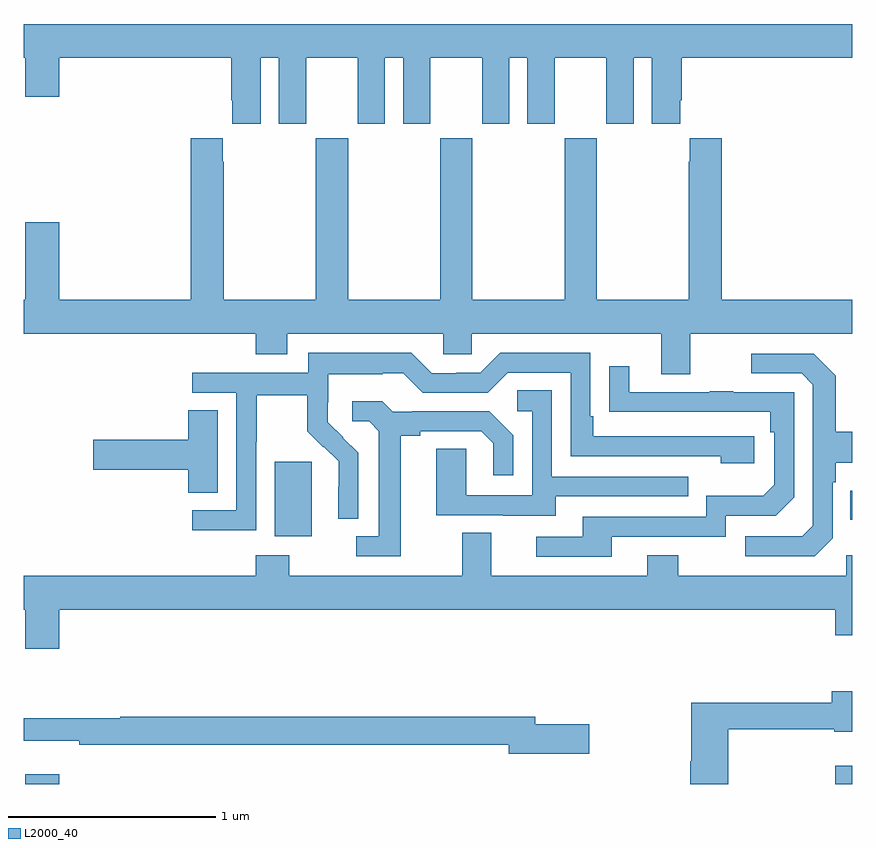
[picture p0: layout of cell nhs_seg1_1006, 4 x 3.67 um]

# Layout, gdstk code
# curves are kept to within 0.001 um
import gdstk
lib = gdstk.Library(unit=1e-6, precision=1e-09)
def R(c, l, rs):  # rectangles x0, y0, x1, y1
    for r in rs: c.add(gdstk.rectangle(r[:2], r[2:], *l))
def P(c, l, *ps):  # polygons
    for p in ps: c.add(gdstk.Polygon(p, *l))
L2000_40 = (2000, 40)

nhs_seg1_1006 = lib.new_cell('nhs_seg1_1006')
R(nhs_seg1_1006, L2000_40, [(165.008,576.199,165.172,576.247), (168.917,576.199,169,576.286), (166.211,577.394,166.39,577.755), (168.991,577.475,169,577.615)])
P(nhs_seg1_1006, L2000_40, [(165,579.704),(165.008,579.704),(165.008,579.516),(165.172,579.516),(165.172,579.704),(166.001,579.704),(166.001,579.499),(166.007,579.499),(166.007,579.387),(166.144,579.387),(166.144,579.704),(166.232,579.704),(166.232,579.387),(166.363,579.387),(166.363,579.704),(166.613,579.704),(166.613,579.387),(166.744,579.387),(166.744,579.704),(166.832,579.704),(166.832,579.387),(166.963,579.387),(166.963,579.704),(167.213,579.704),(167.213,579.387),(167.344,579.387),(167.344,579.704),(167.432,579.704),(167.432,579.387),(167.563,579.387),(167.563,579.704),(167.813,579.704),(167.813,579.387),(167.944,579.387),(167.944,579.704),(168.032,579.704),(168.032,579.387),(168.169,579.387),(168.169,579.499),(168.176,579.499),(168.176,579.704),(169,579.704),(169,579.868),(165,579.868)],
  [(168.217,578.372),(169,578.372),(169,578.536),(168.371,578.536),(168.371,579.316),(168.215,579.316),(168.215,579.203),(168.211,579.203),(168.211,578.536),(167.766,578.536),(167.766,579.316),(167.611,579.316),(167.611,578.536),(167.166,578.536),(167.166,579.316),(167.011,579.316),(167.011,578.536),(166.566,578.536),(166.566,579.316),(166.411,579.316),(166.411,578.536),(165.966,578.536),(165.966,579.203),(165.961,579.203),(165.961,579.316),(165.806,579.316),(165.806,578.536),(165.172,578.536),(165.172,578.911),(165.008,578.911),(165.008,578.536),(165,578.536),(165,578.372),(166.121,578.372),(166.121,578.273),(166.273,578.273),(166.273,578.372),(167.025,578.372),(167.025,578.274),(167.163,578.274),(167.163,578.372),(168.077,578.372),(168.077,578.178),(168.217,578.178)],
  [(166.122,577.852),(166.125,577.852),(166.125,578.076),(166.369,578.076),(166.369,577.901),(166.446,577.824),(166.449,577.827),(166.52,577.757),(166.52,577.634),(166.518,577.634),(166.518,577.48),(166.614,577.48),(166.614,577.798),(166.468,577.946),(166.468,578.043),(166.47,578.043),(166.47,578.177),(166.733,578.177),(166.733,578.181),(166.833,578.181),(166.926,578.088),(167.241,578.088),(167.337,578.184),(167.64,578.184),(167.64,577.782),(168.365,577.782),(168.365,577.748),(168.526,577.748),(168.526,577.878),(167.749,577.878),(167.749,577.975),(167.736,577.975),(167.736,578.28),(167.301,578.28),(167.205,578.184),(167.087,578.184),(167.087,578.181),(166.971,578.181),(166.871,578.281),(166.374,578.281),(166.374,578.184),(165.813,578.184),(165.813,578.088),(166.026,578.088),(166.026,577.521),(165.813,577.521),(165.813,577.423),(166.122,577.423)],
  [(168.906,577.386),(168.906,577.655),(168.919,577.655),(168.919,577.751),(169,577.751),(169,577.899),(168.919,577.899),(168.919,578.171),(168.813,578.277),(168.513,578.277),(168.513,578.181),(168.756,578.181),(168.81,578.127),(168.81,577.446),(168.759,577.395),(168.483,577.395),(168.483,577.299),(168.819,577.299)],
  [(167.839,577.392),(168.39,577.392),(168.39,577.494),(168.63,577.494),(168.72,577.584),(168.72,578.091),(168.425,578.091),(168.425,578.096),(168.313,578.096),(168.313,578.091),(167.923,578.091),(167.923,578.215),(167.827,578.215),(167.827,577.996),(168.604,577.995),(168.604,577.898),(168.624,577.898),(168.624,577.644),(168.571,577.591),(168.294,577.591),(168.294,577.488),(167.699,577.488),(167.699,577.392),(167.475,577.392),(167.475,577.296),(167.839,577.296)],
  [(167.569,577.587),(168.209,577.587),(168.209,577.683),(167.55,577.683),(167.55,578.099),(167.382,578.099),(167.382,577.998),(167.454,577.998),(167.454,577.593),(167.136,577.593),(167.136,577.817),(166.991,577.817),(166.991,577.497),(167.315,577.497),(167.315,577.493),(167.569,577.493)],
  [(166.819,577.88),(166.915,577.88),(166.915,577.902),(167.21,577.902),(167.267,577.845),(167.267,577.689),(167.364,577.689),(167.364,577.882),(167.248,577.998),(166.876,577.998),(166.876,577.995),(166.782,577.995),(166.73,578.047),(166.587,578.047),(166.587,577.95),(166.668,577.95),(166.715,577.903),(166.715,577.395),(166.605,577.395),(166.605,577.299),(166.819,577.299)],
  [(165.937,578.003),(165.794,578.003),(165.794,577.862),(165.336,577.862),(165.336,577.715),(165.794,577.715),(165.794,577.606),(165.937,577.606)],
  [(165.172,577.04),(168.917,577.04),(168.917,576.916),(169,576.916),(169,577.303),(168.972,577.303),(168.972,577.204),(168.159,577.204),(168.159,577.303),(168.011,577.303),(168.011,577.204),(167.257,577.204),(167.257,577.412),(167.117,577.412),(167.117,577.204),(166.281,577.204),(166.281,577.303),(166.121,577.303),(166.121,577.204),(165,577.204),(165,577.04),(165.008,577.04),(165.008,576.852),(165.172,576.852)],
  [(168.401,576.463),(168.914,576.463),(168.914,576.452),(169,576.452),(169,576.646),(168.902,576.646),(168.902,576.592),(168.223,576.592),(168.223,576.31),(168.218,576.31),(168.218,576.199),(168.401,576.199)],
  [(167.731,576.488),(167.47,576.488),(167.47,576.524),(165.466,576.524),(165.466,576.517),(165,576.517),(165,576.407),(165.268,576.407),(165.268,576.388),(167.342,576.388),(167.342,576.346),(167.731,576.346)])

lib.write_gds('nhs_seg1_1006.gds')
